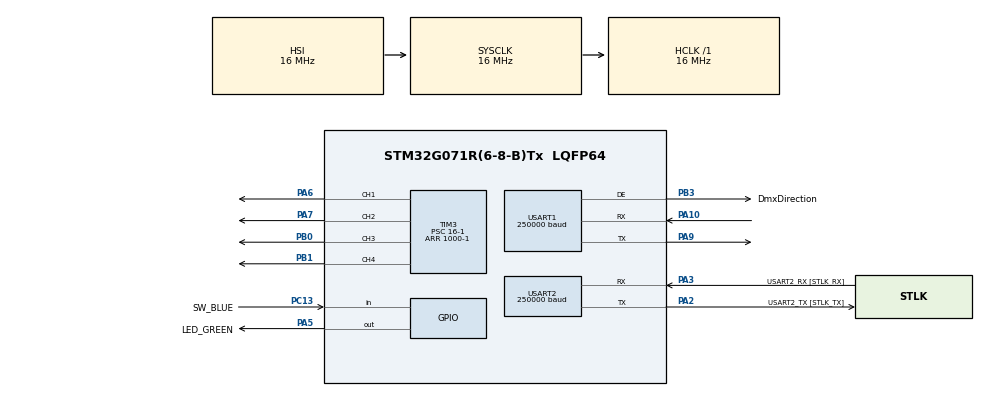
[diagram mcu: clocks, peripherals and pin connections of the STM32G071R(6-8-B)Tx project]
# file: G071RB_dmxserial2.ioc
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Mcu.Family=STM32G0
Mcu.Name=STM32G071R(6-8-B)Tx
Mcu.Package=LQFP64
NVIC.USART1_IRQn=true\:0\:0\:false\:false\:true\:true\:true\:true
PA10.Mode=Asynchronous
PA10.Signal=USART1_RX
PA13.GPIO_Label=TMS
PA13.Mode=Serial_Wire
PA13.Signal=SYS_SWDIO
PA14-BOOT0.GPIO_Label=TCK
PA14-BOOT0.Mode=Serial_Wire
PA14-BOOT0.Signal=SYS_SWCLK
PA2.GPIO_Label=USART2_TX [STLK_TX]
PA2.GPIO_PuPd=GPIO_PULLUP
PA2.Mode=Asynchronous
PA2.Signal=USART2_TX
PA3.GPIO_Label=USART2_RX [STLK_RX]
PA3.GPIO_PuPd=GPIO_PULLUP
PA3.Mode=Asynchronous
PA3.Signal=USART2_RX
PA5.GPIO_Label=LED_GREEN
PA5.GPIO_Speed=GPIO_SPEED_FREQ_HIGH
PA5.Signal=GPIO_Output
PA6.Signal=S_TIM3_CH1
PA7.Signal=S_TIM3_CH2
PA9.Mode=Asynchronous
PA9.Signal=USART1_TX
PB0.Signal=S_TIM3_CH3
PB1.Signal=S_TIM3_CH4
PB3.GPIO_Label=DmxDirection
PB3.Mode=Hardware Flow Control (RS485)
PB3.Signal=USART1_DE
PC13.GPIO_Label=SW_BLUE
PC13.Signal=GPIO_Input
PC14-OSC32_IN\ (PC14).Mode=LSE-External-Oscillator
PC14-OSC32_IN\ (PC14).Signal=RCC_OSC32_IN
PC15-OSC32_OUT\ (PC15).Mode=LSE-External-Oscillator
PC15-OSC32_OUT\ (PC15).Signal=RCC_OSC32_OUT
PF0-OSC_IN\ (PF0).GPIO_Label=MCO
PF0-OSC_IN\ (PF0).Mode=HSE-External-Clock-Source
PF0-OSC_IN\ (PF0).Signal=RCC_OSC_IN
ProjectManager.HeapSize=0x200
ProjectManager.StackSize=0x400
ProjectManager.TargetToolchain=STM32CubeIDE
RCC.AHBFreq_Value=16000000
RCC.CortexFreq_Value=16000000
RCC.EXTERNAL_CLOCK_VALUE=12288000
RCC.HCLKFreq_Value=16000000
RCC.HSE_VALUE=8000000
RCC.HSI_VALUE=16000000
RCC.SYSCLKFreq_VALUE=16000000
RCC.VCOOutputFreq_Value=128000000
SH.S_TIM3_CH1.0=TIM3_CH1,PWM Generation1 CH1
SH.S_TIM3_CH2.0=TIM3_CH2,PWM Generation2 CH2
SH.S_TIM3_CH3.0=TIM3_CH3,PWM Generation3 CH3
SH.S_TIM3_CH4.0=TIM3_CH4,PWM Generation4 CH4
TIM3.Channel-PWM\ Generation1\ CH1=TIM_CHANNEL_1
TIM3.Channel-PWM\ Generation2\ CH2=TIM_CHANNEL_2
TIM3.Channel-PWM\ Generation3\ CH3=TIM_CHANNEL_3
TIM3.Channel-PWM\ Generation4\ CH4=TIM_CHANNEL_4
TIM3.Period=1000-1
TIM3.Prescaler=16-1
USART1.BaudRate=250000
USART1.VirtualMode-Asynchronous=VM_ASYNC
USART1.VirtualMode-Hardware\ Flow\ Control\ (RS485)=VM_ASYNC
USART2.BaudRate=250000
USART2.VirtualMode-Asynchronous=VM_ASYNC
VP_SYS_VS_DBSignals.Mode=DisableDeadBatterySignals
VP_TIM3_VS_ClockSourceINT.Mode=Internal
board=NUCLEO-G071RB

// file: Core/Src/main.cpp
/* USER CODE BEGIN Header */
/**
  ******************************************************************************
  * @file           : main.c
  * @brief          : Main program body
  ******************************************************************************
  * @attention
  *
  * Copyright (c) 2024 STMicroelectronics.
  * All rights reserved.
  *
  * This software is licensed under terms that can be found in the LICENSE file
  * in the root directory of this software component.
  * If no LICENSE file comes with this software, it is provided AS-IS.
  *
  ******************************************************************************
  */
/* USER CODE END Header */
#include "main.h"

/* USER CODE BEGIN Includes */
#include <stdio.h>
#include <string.h>
#include <stdint.h>
#include <stdlib.h>
#include <cstring>
#include "DMXSerial2.h"

#include <string>
/* USER CODE END Includes */

/* USER CODE BEGIN PD */
#define ACTIVEPWMCHANNELCOUNT 12   //1 =12

#define PAGE_SETTING_START 123
#define PAGE_SETTING_COUNT 4

#define SWAPINT32(i) ((i&0x000000ff)<<24) | ((i&0x0000ff00)<<8) | ((i&0x00ff0000)>>8) | ((i&0xff000000)>>24)
// read a 16 bit number from a data buffer location
#define READINT(p) ((p[0]<<8) | (p[1]))
// write a 16 bit number to a data buffer location
#define WRITEINT(p, d) (p)[0] = (d&0xFF00)>>8; (p)[1] = (d&0x00FF);

/* USER CODE END PD */

TIM_HandleTypeDef htim3;

UART_HandleTypeDef huart1;
UART_HandleTypeDef huart2;

/* USER CODE BEGIN PV */
bool eepromneedtosave=false;
unsigned long tickcounter=0;
extern int currentresolution;

// load save stuff
uint16_t eepromid;
uint16_t start_address;
uint16_t footprint;
uint16_t _newpersonality;
char label[32];

uint16_t pwmR, pwmG, pwmB, pwmW;
//int8_t stepR, stepG = 20, stepB = -40, stepW = 5;

/* USER CODE END PV */

void SystemClock_Config(void);
static void MX_GPIO_Init(void);
static void MX_USART2_UART_Init(void);
static void MX_TIM3_Init(void);
static void MX_USART1_UART_Init(void);
/* USER CODE BEGIN PFP */

void init_settings();
void load_settings();
void save_settings();
void DiscoveryFlash(int flashval);
bool8 processCommand(struct RDMDATA *rdm, uint16_t *nackReason);

/* USER CODE END PFP */

/* USER CODE BEGIN 0 */
int _write(int file, char *ptr, int len) {
	HAL_UART_Transmit(&huart2, (uint8_t*) ptr, len, HAL_MAX_DELAY);
	return len;
}

const uint16_t my_pids[] = { E120_DEVICE_HOURS, E120_LAMP_HOURS };

struct RDMINIT rdmInit = {
  "yourmanuf", // Manufacturer Label
  1, // Device Model ID
  "my model", // Device Model Label
  24, // footprint
  (sizeof(my_pids) / sizeof(uint16_t)), my_pids,
  0, NULL
};

unsigned int millis2()
{
	return HAL_GetTick();
}

/* USER CODE END 0 */

int main(void)
{

  /* MCU Configuration--------------------------------------------------------*/

  /* Reset of all peripherals, Initializes the Flash interface and the Systick. */
  HAL_Init();

  /* Configure the system clock */
  SystemClock_Config();

  /* Initialize all configured peripherals */
  MX_GPIO_Init();
  MX_USART2_UART_Init();
  MX_TIM3_Init();
  MX_USART1_UART_Init();
  /* USER CODE BEGIN 2 */

	pwmR = 0;
	pwmG = 580;
	pwmB = 900;
	pwmB = 0;

	TIM3->CCR1 = pwmR;
	TIM3->CCR2 = pwmG;
	TIM3->CCR3 = pwmB;
	TIM3->CCR4 = pwmW;
	HAL_TIM_PWM_Start(&htim3, TIM_CHANNEL_1); //coment test
	HAL_TIM_PWM_Start(&htim3, TIM_CHANNEL_2);
	HAL_TIM_PWM_Start(&htim3, TIM_CHANNEL_3);
	HAL_TIM_PWM_Start(&htim3, TIM_CHANNEL_4);

	//HAL_GPIO_WritePin(LED_GREEN_GPIO_Port,LED_GREEN_Pin,GPIO_PIN_SET);

	printf("\r\nSTM32G071RB DMX b0.01\r\n");
	printf("\r\n16MHz internal clock\r\n");
	printf("UART1 250kbps RS485\r\n");
	printf("UART2 250kbps VCP debug port\r\n");
	printf("TIM3 4xPWM@1kHz CH1-PB4, CH2-PA7, CH3-PB0 ,CH4-PB1\r\n");

  /* USER CODE END 2 */

  /* Infinite loop */
  /* USER CODE BEGIN WHILE */
  while (1)
  {
	  //HAL_GPIO_TogglePin(LED_GREEN_GPIO_Port, LED_GREEN_Pin);
	  //HAL_Delay(500);
/*
		if (pwmR == 0)    stepR = 10;
		if (pwmR == 1000) stepR = -10;
		pwmR += stepR;
		if (pwmG == 0)    stepG = 20;
		if (pwmG == 1000) stepG = -20;
		pwmG += stepG;
		if (pwmB == 0)    stepB = 40;
		if (pwmB == 1000) stepB = -40;
		pwmB += stepB;
		if (pwmW == 0)    stepB = 5;
		if (pwmW == 1000) stepB = -5;
		pwmW += stepW;

		TIM3->CCR1 = pwmR;
		TIM3->CCR2 = pwmG;
		TIM3->CCR3 = pwmB;
		TIM3->CCR4 = pwmW;
		HAL_Delay(9);
*/

    /* USER CODE END WHILE */

  }
}

void SystemClock_Config(void)
{
  RCC_OscInitTypeDef RCC_OscInitStruct = {0};
  RCC_ClkInitTypeDef RCC_ClkInitStruct = {0};

  /** Configure the main internal regulator output voltage
  */
  HAL_PWREx_ControlVoltageScaling(PWR_REGULATOR_VOLTAGE_SCALE1);

  /** Initializes the RCC Oscillators according to the specified parameters
  * in the RCC_OscInitTypeDef structure.
  */
  RCC_OscInitStruct.OscillatorType = RCC_OSCILLATORTYPE_HSI;
  RCC_OscInitStruct.HSIState = RCC_HSI_ON;
  RCC_OscInitStruct.HSIDiv = RCC_HSI_DIV1;
  RCC_OscInitStruct.HSICalibrationValue = RCC_HSICALIBRATION_DEFAULT;
  RCC_OscInitStruct.PLL.PLLState = RCC_PLL_NONE;
  if (HAL_RCC_OscConfig(&RCC_OscInitStruct) != HAL_OK)
  {
    Error_Handler();
  }

  /** Initializes the CPU, AHB and APB buses clocks
  */
  RCC_ClkInitStruct.ClockType = RCC_CLOCKTYPE_HCLK|RCC_CLOCKTYPE_SYSCLK
                              |RCC_CLOCKTYPE_PCLK1;
  RCC_ClkInitStruct.SYSCLKSource = RCC_SYSCLKSOURCE_HSI;
  RCC_ClkInitStruct.AHBCLKDivider = RCC_SYSCLK_DIV1;
  RCC_ClkInitStruct.APB1CLKDivider = RCC_HCLK_DIV1;

  if (HAL_RCC_ClockConfig(&RCC_ClkInitStruct, FLASH_LATENCY_0) != HAL_OK)
  {
    Error_Handler();
  }
}

static void MX_TIM3_Init(void)
{

  TIM_ClockConfigTypeDef sClockSourceConfig = {0};
  TIM_MasterConfigTypeDef sMasterConfig = {0};
  TIM_OC_InitTypeDef sConfigOC = {0};

  htim3.Instance = TIM3;
  htim3.Init.Prescaler = 16-1;
  htim3.Init.CounterMode = TIM_COUNTERMODE_UP;
  htim3.Init.Period = 1000-1;
  htim3.Init.ClockDivision = TIM_CLOCKDIVISION_DIV1;
  htim3.Init.AutoReloadPreload = TIM_AUTORELOAD_PRELOAD_DISABLE;
  if (HAL_TIM_Base_Init(&htim3) != HAL_OK)
  {
    Error_Handler();
  }
  sClockSourceConfig.ClockSource = TIM_CLOCKSOURCE_INTERNAL;
  if (HAL_TIM_ConfigClockSource(&htim3, &sClockSourceConfig) != HAL_OK)
  {
    Error_Handler();
  }
  if (HAL_TIM_PWM_Init(&htim3) != HAL_OK)
  {
    Error_Handler();
  }
  sMasterConfig.MasterOutputTrigger = TIM_TRGO_RESET;
  sMasterConfig.MasterSlaveMode = TIM_MASTERSLAVEMODE_DISABLE;
  if (HAL_TIMEx_MasterConfigSynchronization(&htim3, &sMasterConfig) != HAL_OK)
  {
    Error_Handler();
  }
  sConfigOC.OCMode = TIM_OCMODE_PWM1;
  sConfigOC.Pulse = 0;
  sConfigOC.OCPolarity = TIM_OCPOLARITY_HIGH;
  sConfigOC.OCFastMode = TIM_OCFAST_DISABLE;
  if (HAL_TIM_PWM_ConfigChannel(&htim3, &sConfigOC, TIM_CHANNEL_1) != HAL_OK)
  {
    Error_Handler();
  }
  if (HAL_TIM_PWM_ConfigChannel(&htim3, &sConfigOC, TIM_CHANNEL_2) != HAL_OK)
  {
    Error_Handler();
  }
  if (HAL_TIM_PWM_ConfigChannel(&htim3, &sConfigOC, TIM_CHANNEL_3) != HAL_OK)
  {
    Error_Handler();
  }
  if (HAL_TIM_PWM_ConfigChannel(&htim3, &sConfigOC, TIM_CHANNEL_4) != HAL_OK)
  {
    Error_Handler();
  }
  HAL_TIM_MspPostInit(&htim3);

}

static void MX_USART1_UART_Init(void)
{

  huart1.Instance = USART1;
  huart1.Init.BaudRate = 250000;
  huart1.Init.WordLength = UART_WORDLENGTH_8B;
  huart1.Init.StopBits = UART_STOPBITS_1;
  huart1.Init.Parity = UART_PARITY_NONE;
  huart1.Init.Mode = UART_MODE_TX_RX;
  huart1.Init.HwFlowCtl = UART_HWCONTROL_NONE;
  huart1.Init.OverSampling = UART_OVERSAMPLING_16;
  huart1.Init.OneBitSampling = UART_ONE_BIT_SAMPLE_DISABLE;
  huart1.Init.ClockPrescaler = UART_PRESCALER_DIV1;
  huart1.AdvancedInit.AdvFeatureInit = UART_ADVFEATURE_NO_INIT;
  if (HAL_RS485Ex_Init(&huart1, UART_DE_POLARITY_HIGH, 0, 0) != HAL_OK)
  {
    Error_Handler();
  }
  if (HAL_UARTEx_SetTxFifoThreshold(&huart1, UART_TXFIFO_THRESHOLD_1_8) != HAL_OK)
  {
    Error_Handler();
  }
  if (HAL_UARTEx_SetRxFifoThreshold(&huart1, UART_RXFIFO_THRESHOLD_1_8) != HAL_OK)
  {
    Error_Handler();
  }
  if (HAL_UARTEx_DisableFifoMode(&huart1) != HAL_OK)
  {
    Error_Handler();
  }

}

static void MX_USART2_UART_Init(void)
{

  huart2.Instance = USART2;
  huart2.Init.BaudRate = 250000;
  huart2.Init.WordLength = UART_WORDLENGTH_8B;
  huart2.Init.StopBits = UART_STOPBITS_1;
  huart2.Init.Parity = UART_PARITY_NONE;
  huart2.Init.Mode = UART_MODE_TX_RX;
  huart2.Init.HwFlowCtl = UART_HWCONTROL_NONE;
  huart2.Init.OverSampling = UART_OVERSAMPLING_16;
  huart2.Init.OneBitSampling = UART_ONE_BIT_SAMPLE_DISABLE;
  huart2.Init.ClockPrescaler = UART_PRESCALER_DIV1;
  huart2.AdvancedInit.AdvFeatureInit = UART_ADVFEATURE_NO_INIT;
  if (HAL_UART_Init(&huart2) != HAL_OK)
  {
    Error_Handler();
  }
  if (HAL_UARTEx_SetTxFifoThreshold(&huart2, UART_TXFIFO_THRESHOLD_1_8) != HAL_OK)
  {
    Error_Handler();
  }
  if (HAL_UARTEx_SetRxFifoThreshold(&huart2, UART_RXFIFO_THRESHOLD_1_8) != HAL_OK)
  {
    Error_Handler();
  }
  if (HAL_UARTEx_DisableFifoMode(&huart2) != HAL_OK)
  {
    Error_Handler();
  }

}

static void MX_GPIO_Init(void)
{
  GPIO_InitTypeDef GPIO_InitStruct = {0};

  /* GPIO Ports Clock Enable */
  __HAL_RCC_GPIOC_CLK_ENABLE();
  __HAL_RCC_GPIOF_CLK_ENABLE();
  __HAL_RCC_GPIOA_CLK_ENABLE();
  __HAL_RCC_GPIOB_CLK_ENABLE();

  /*Configure GPIO pin Output Level */
  HAL_GPIO_WritePin(LED_GREEN_GPIO_Port, LED_GREEN_Pin, GPIO_PIN_RESET);

  /*Configure GPIO pin : SW_BLUE_Pin */
  GPIO_InitStruct.Pin = SW_BLUE_Pin;
  GPIO_InitStruct.Mode = GPIO_MODE_INPUT;
  GPIO_InitStruct.Pull = GPIO_NOPULL;
  HAL_GPIO_Init(SW_BLUE_GPIO_Port, &GPIO_InitStruct);

  /*Configure GPIO pin : LED_GREEN_Pin */
  GPIO_InitStruct.Pin = LED_GREEN_Pin;
  GPIO_InitStruct.Mode = GPIO_MODE_OUTPUT_PP;
  GPIO_InitStruct.Pull = GPIO_NOPULL;
  GPIO_InitStruct.Speed = GPIO_SPEED_FREQ_HIGH;
  HAL_GPIO_Init(LED_GREEN_GPIO_Port, &GPIO_InitStruct);

}

void Error_Handler(void)
{
  __disable_irq();
  while (1)
  {
  }
}
